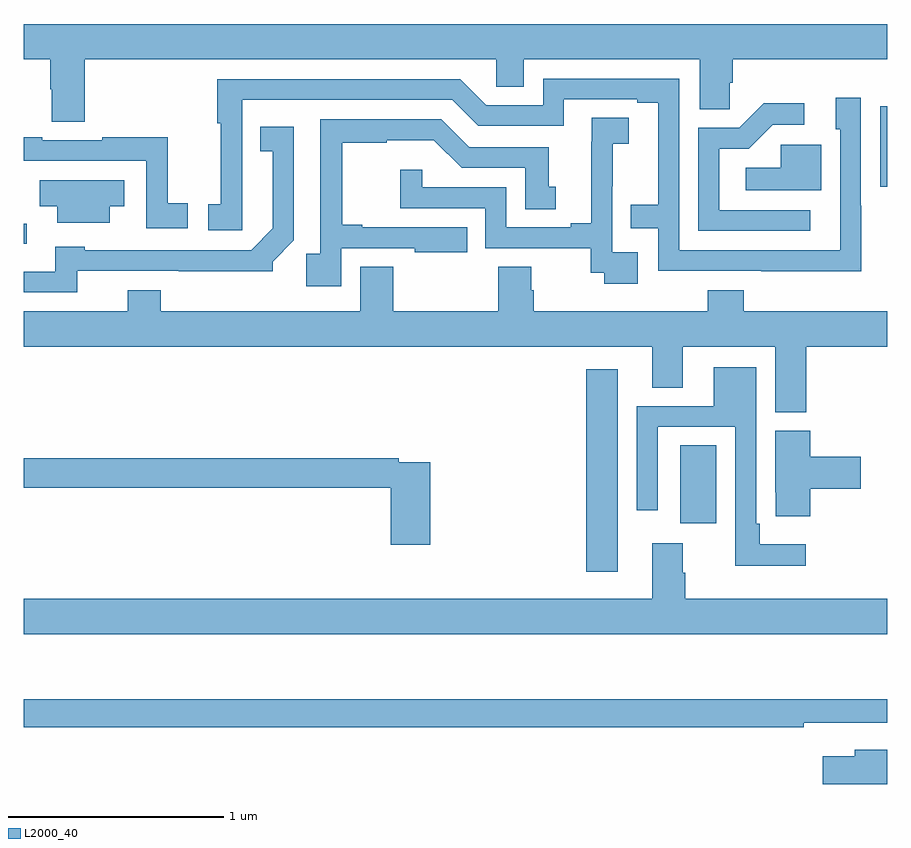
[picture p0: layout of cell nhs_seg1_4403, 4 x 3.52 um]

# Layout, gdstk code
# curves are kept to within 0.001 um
import gdstk
lib = gdstk.Library(unit=1e-6, precision=1e-09)
def R(c, l, rs):  # rectangles x0, y0, x1, y1
    for r in rs: c.add(gdstk.rectangle(r[:2], r[2:], *l))
def P(c, l, *ps):  # polygons
    for p in ps: c.add(gdstk.Polygon(p, *l))
L2000_40 = (2000, 40)

nhs_seg1_4403 = lib.new_cell('nhs_seg1_4403')
R(nhs_seg1_4403, L2000_40, [(353.606,521.385,353.752,522.325), (354.041,521.61,354.208,521.972), (351,522.905,351.013,522.999), (354.969,523.17,355,523.542)])
P(nhs_seg1_4403, L2000_40, [(351.281,523.76),(353.19,523.76),(353.19,523.633),(353.317,523.633),(353.317,523.76),(354.131,523.76),(354.131,523.528),(354.27,523.528),(354.27,523.651),(354.284,523.651),(354.284,523.76),(355,523.76),(355,523.924),(351,523.924),(351,523.76),(351.121,523.76),(351.121,523.621),(351.128,523.621),(351.128,523.471),(351.281,523.471)],
  [(354.881,523.082),(354.879,523.082),(354.879,523.582),(354.761,523.582),(354.761,523.437),(354.783,523.437),(354.783,522.876),(354.036,522.876),(354.036,523.671),(353.406,523.671),(353.406,523.548),(353.142,523.548),(353.022,523.668),(351.895,523.668),(351.895,523.465),(351.913,523.465),(351.913,523.089),(351.855,523.089),(351.855,522.969),(352.012,522.969),(352.011,523.572),(352.986,523.572),(353.106,523.452),(353.502,523.452),(353.502,523.575),(353.843,523.575),(353.843,523.56),(353.939,523.56),(353.939,523.087),(353.812,523.087),(353.812,522.978),(353.94,522.978),(353.94,522.78),(354.881,522.779)],
  [(354.643,523.062),(354.222,523.062),(354.222,523.347),(354.36,523.347),(354.471,523.458),(354.616,523.458),(354.616,523.556),(354.428,523.556),(354.315,523.443),(354.126,523.443),(354.126,522.966),(354.643,522.966)],
  [(353.845,522.867),(353.727,522.867),(353.727,523.171),(353.729,523.171),(353.729,523.369),(353.803,523.369),(353.803,523.49),(353.632,523.49),(353.632,523.379),(353.63,523.379),(353.63,523.001),(353.534,523.001),(353.534,522.981),(353.235,522.981),(353.235,523.167),(352.845,523.167),(352.845,523.249),(352.744,523.249),(352.744,523.071),(353.139,523.071),(353.139,522.885),(353.626,522.885),(353.626,522.771),(353.689,522.771),(353.689,522.72),(353.845,522.72)],
  [(352.47,522.885),(352.811,522.885),(352.811,522.866),(353.054,522.866),(353.054,522.981),(352.567,522.981),(352.567,522.994),(352.475,522.994),(352.475,523.374),(352.682,523.374),(352.682,523.385),(352.9,523.385),(353.028,523.257),(353.324,523.257),(353.324,523.066),(353.464,523.066),(353.464,523.17),(353.431,523.17),(353.431,523.353),(353.064,523.353),(352.935,523.482),(352.374,523.482),(352.374,522.859),(352.309,522.859),(352.309,522.708),(352.47,522.708)],
  [(351.246,522.78),(352.152,522.779),(352.152,522.823),(352.251,522.922),(352.251,523.447),(352.096,523.447),(352.096,523.334),(352.154,523.334),(352.154,522.977),(352.053,522.876),(351.282,522.876),(351.282,522.892),(351.146,522.892),(351.146,522.777),(351,522.777),(351,522.681),(351.246,522.681)],
  [(351.76,523.094),(351.666,523.094),(351.666,523.399),(351.364,523.399),(351.364,523.386),(351.085,523.386),(351.085,523.399),(351,523.399),(351,523.29),(351.567,523.29),(351.567,522.978),(351.76,522.978)],
  [(354.694,523.365),(354.507,523.365),(354.507,523.258),(354.345,523.258),(354.345,523.154),(354.694,523.154)],
  [(351.397,523.079),(351.466,523.079),(351.466,523.201),(351.073,523.201),(351.073,523.079),(351.155,523.079),(351.155,523.004),(351.397,523.004)],
  [(353.363,522.69),(353.35,522.69),(353.35,522.8),(353.198,522.8),(353.198,522.592),(352.712,522.592),(352.712,522.8),(352.559,522.8),(352.559,522.592),(351.635,522.592),(351.635,522.691),(351.482,522.691),(351.482,522.592),(351,522.592),(351,522.428),(353.912,522.428),(353.912,522.238),(354.052,522.238),(354.052,522.428),(354.482,522.428),(354.482,522.124),(354.626,522.124),(354.626,522.428),(355,522.428),(355,522.592),(354.335,522.592),(354.335,522.691),(354.17,522.691),(354.17,522.592),(353.363,522.592)],
  [(354.622,521.512),(354.409,521.512),(354.409,521.608),(354.393,521.608),(354.393,522.334),(354.197,522.334),(354.197,522.153),(353.841,522.153),(353.841,521.67),(353.937,521.67),(353.937,522.057),(354.297,522.057),(354.297,521.414),(354.622,521.414)],
  [(354.644,521.77),(354.877,521.77),(354.877,521.918),(354.644,521.918),(354.644,522.039),(354.482,522.039),(354.482,521.755),(354.483,521.755),(354.483,521.643),(354.644,521.643)],
  [(352.883,521.892),(352.736,521.892),(352.736,521.912),(351,521.912),(351,521.776),(352.7,521.776),(352.7,521.511),(352.883,521.511)],
  [(355,521.26),(354.065,521.26),(354.065,521.381),(354.052,521.381),(354.052,521.518),(353.912,521.518),(353.912,521.26),(351,521.26),(351,521.096),(355,521.096)],
  [(354.614,520.686),(355,520.686),(355,520.795),(351,520.795),(351,520.666),(354.614,520.666)],
  [(355,520.56),(354.851,520.56),(354.851,520.531),(354.702,520.531),(354.702,520.402),(355,520.402)])

lib.write_gds('nhs_seg1_4403.gds')
